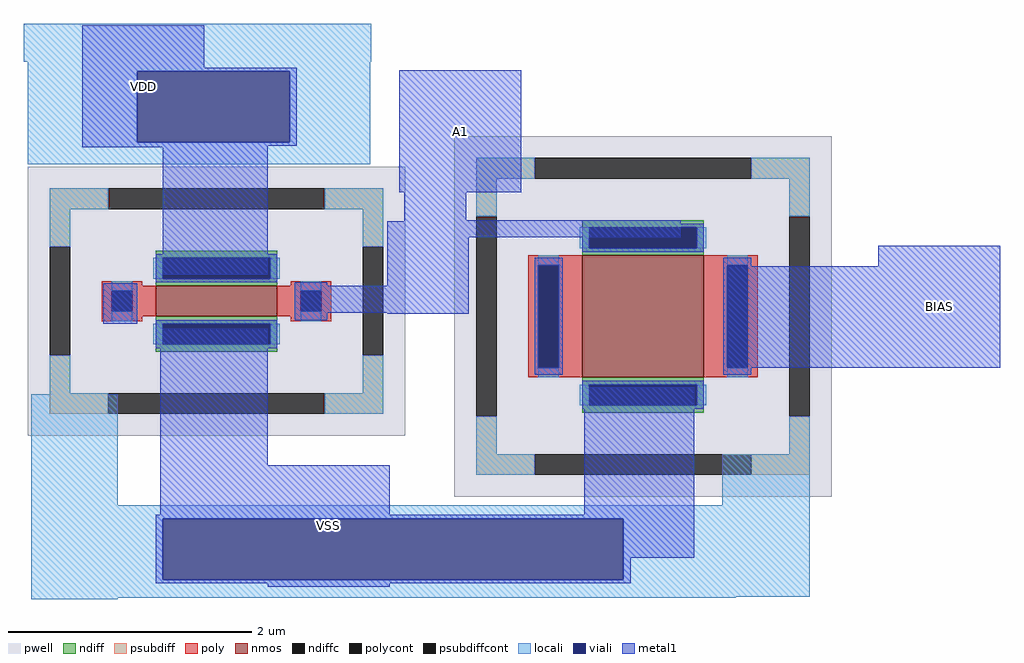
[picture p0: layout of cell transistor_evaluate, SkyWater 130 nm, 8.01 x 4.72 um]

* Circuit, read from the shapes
.subckt transistor_evaluate VSS A1 BIAS VDD
XM1 VDD A1 VSS VSS sky130_fd_pr__nfet_01v8 w=1 l=0.25
XM2 A1 BIAS VSS VSS sky130_fd_pr__nfet_01v8 w=1 l=1
.ends

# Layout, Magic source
magic
tech sky130A
magscale 1 2
<< locali >>
rect 1162 196 1732 258
rect 1168 180 1730 196
rect 1168 64 1348 180
rect 1598 64 1730 180
rect 1168 28 1730 64
rect 1174 -532 1316 -350
rect 2308 -532 2452 -448
rect 1174 -554 2452 -532
rect 1174 -654 1390 -554
rect 2146 -654 2452 -554
rect 1174 -682 2452 -654
rect 1174 -684 2330 -682
rect 1174 -686 1316 -684
<< viali >>
rect 1348 64 1598 180
rect 1390 -654 2146 -554
<< metal1 >>
rect 1258 186 1458 256
rect 1258 180 1610 186
rect 1258 64 1348 180
rect 1598 64 1610 180
rect 1258 58 1610 64
rect 1258 56 1562 58
rect 1390 -154 1562 56
rect 1778 -18 1978 182
rect 1786 -64 1888 -18
rect 1786 -66 2240 -64
rect 1758 -92 2240 -66
rect 1292 -234 1348 -168
rect 1606 -172 1660 -166
rect 1758 -172 1892 -92
rect 2564 -140 2764 -106
rect 1606 -216 1892 -172
rect 1606 -228 1660 -216
rect 1758 -218 1892 -216
rect 1386 -466 1562 -242
rect 2318 -306 2764 -140
rect 1386 -548 1762 -466
rect 2082 -548 2262 -338
rect 1378 -554 2262 -548
rect 1378 -654 1390 -554
rect 2146 -618 2262 -554
rect 2146 -654 2158 -618
rect 1378 -660 2158 -654
rect 1562 -666 1762 -660
use sky130_fd_pr__nfet_01v8_HHPQSU  XM4
transform 0 1 1478 -1 0 -197
box -221 -310 221 310
use sky130_fd_pr__nfet_01v8_2B38KW  XM5
transform 0 -1 2178 1 0 -222
box -296 -310 296 310
<< labels >>
flabel metal1 1562 -666 1762 -466 0 FreeSans 256 0 0 0 VSS
port 0 nsew
flabel metal1 1258 56 1458 256 0 FreeSans 256 0 0 0 VDD
port 3 nsew
flabel metal1 2564 -306 2764 -106 0 FreeSans 256 0 0 0 BIAS
port 2 nsew
flabel metal1 1778 -18 1978 182 0 FreeSans 256 0 0 0 A1
port 1 nsew
<< end >>

# cell sky130_fd_pr__nfet_01v8_HHPQSU: kit device sky130_fd_pr__nfet_01v8, w 1.0 l 0.25 m 1 nf 1 diffcov 100 polycov 100 guard 1 glc 1 grc 1 gtc 1 gbc 1 tbcov 100 rlcov 100 topc 1 botc 1 poverlap 0 doverlap 1 lmin 0.15 wmin 0.42 class mosfet compatible {sky130_fd_pr__nfet_01v8 sky130_fd_pr__nfet_01v8_lvt sky130_fd_bs_flash__special_sonosfet_star sky130_fd_pr__nfet_g5v0d10v5 sky130_fd_pr__nfet_05v0_nvt sky130_fd_pr__nfet_03v3_nvt} full_metal 1 viasrc 100 viadrn 100 viagate 100 viagb 0 viagr 0 viagl 0 viagt 0

# cell sky130_fd_pr__nfet_01v8_2B38KW: kit device sky130_fd_pr__nfet_01v8, w 1.0 l 1.0 m 1 nf 1 diffcov 100 polycov 100 guard 1 glc 1 grc 1 gtc 1 gbc 1 tbcov 100 rlcov 100 topc 1 botc 1 poverlap 0 doverlap 1 lmin 0.15 wmin 0.42 class mosfet compatible {sky130_fd_pr__nfet_01v8 sky130_fd_pr__nfet_01v8_lvt sky130_fd_bs_flash__special_sonosfet_star sky130_fd_pr__nfet_g5v0d10v5 sky130_fd_pr__nfet_05v0_nvt sky130_fd_pr__nfet_03v3_nvt} full_metal 1 viasrc 100 viadrn 100 viagate 100 viagb 0 viagr 0 viagl 0 viagt 0
